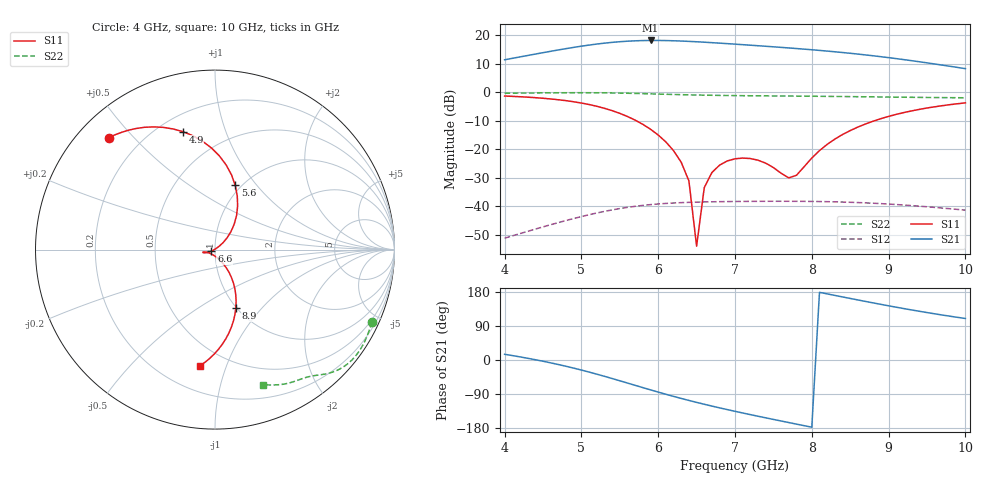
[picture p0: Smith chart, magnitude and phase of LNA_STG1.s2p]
! Touchstone Ver. 1.0
! Number of ports is 2
# Hz	S	RI	R	50.000000	100.000000
! SCATTERING PARAMETERS  :
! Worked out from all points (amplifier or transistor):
!   61 points, 4 GHz to 10 GHz, reference 50 ohm
!   highest |S21| = 18.2 dB at 5.9 GHz (marker M1)
!   |S21| within 3 dB of that: 4.772 GHz to 7.877 GHz (3.105 GHz wide, 49.1 % of centre)
!   unconditionally stable (mu >= 1): start of sweep to 4.353 GHz; 6.181 GHz to end of sweep
!   at 5 GHz: K = 0.79, MSG = 29.9 dB, |S12| = -43.7 dB
!   at 7 GHz: K = 1.40, MAG = 23.9 dB, |S12| = -38.4 dB
!   at 10 GHz: K = 4.27, MAG = 15.6 dB, |S12| = -41.4 dB
!   lowest NFmin = 2.22 dB at 6.4 GHz
!   S11 on the Smith chart (normalised r, x): 4 GHz: 0.09, +0.43; 4.9 GHz: 0.29, +0.72; 5.6 GHz: 0.94, +0.78; 6.6 GHz: 0.96, -0.02; 8.9 GHz: 1.00, -0.73; 10 GHz: 0.36, -0.81
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4e9  -0.5913 0.6238  3.597 0.9684  0.00252 -0.00105  0.8744 -0.4032
4.5e9  -0.3894 0.6816  4.956 -0.2853  0.00348 -0.00256  0.843 -0.4918
4.9e9  -0.1791 0.6573  5.724 -2.25  0.00383 -0.0047  0.8041 -0.5645
5e9  -0.1243 0.635  5.773 -2.885  0.00376 -0.00536  0.7915 -0.5821
5.3e9  0.0239 0.5227  5.332 -4.98  0.00294 -0.00753  0.7464 -0.6303
5.6e9  0.1128 0.3579  3.848 -6.895  0.00104 -0.00946  0.6932 -0.6663
5.9e9  0.12 0.1894  1.575 -7.982  -0.00166 -0.0105  0.6397 -0.687
6e9  0.1069 0.1416  0.753 -8.1  -0.00264 -0.0106  0.6233 -0.6911
6.2e9  0.0676 0.0659  -0.8412 -7.991  -0.00453 -0.0104  0.5936 -0.6965
6.4e9  0.0217 0.0172  -2.254 -7.506  -0.00626 -0.00983  0.568 -0.7001
6.5e9  -1.78e-05 0.00198  -2.869 -7.161  -0.00703 -0.00942  0.5565 -0.7017
6.6e9  -0.0196 -0.00825  -3.419 -6.767  -0.00775 -0.00896  0.5458 -0.7034
6.8e9  -0.0497 -0.0173  -4.324 -5.88  -0.00899 -0.00791  0.5262 -0.7073
7e9  -0.0657 -0.017  -4.99 -4.92  -0.01 -0.00673  0.5079 -0.712
7.5e9  -0.0452 -0.015  -5.781 -2.478  -0.0117 -0.00348  0.4644 -0.7267
7.7e9  -0.0183 -0.0254  -5.807 -1.548  -0.012 -0.0021  0.4468 -0.7328
8e9  0.0312 -0.0626  -5.579 -0.2565  -0.0121 1e-05  0.4199 -0.7412
8.5e9  0.1026 -0.186  -4.618 1.461  -0.0112 0.00331  0.3749 -0.7507
8.9e9  0.1163 -0.3239  -3.53 2.31  -0.00966 0.0054  0.3412 -0.7537
9e9  0.1114 -0.36  -3.243 2.442  -0.00919 0.00581  0.3334 -0.7539
9.4e9  0.0602 -0.4972  -2.144 2.687  -0.00719 0.00693  0.3049 -0.7539
1e10  -0.0814 -0.6461  -0.8709 2.451  -0.00439 0.00728  0.2696 -0.7542
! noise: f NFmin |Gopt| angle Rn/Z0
4e+09  3.575  0.7485  -136.3  0.501
4.6e+09  2.999  0.6204  -123.2  0.4284
5.3e+09  2.521  0.4014  -103.9  0.3537
6e+09  2.265  0.1498  -79.23  0.299
6.6e+09  2.232  0.03531  59.38  0.2763
7.3e+09  2.4  0.1506  97.75  0.2888
8e+09  2.744  0.2425  96.12  0.3567
8.6e+09  3.14  0.346  94.59  0.4704
9.3e+09  3.687  0.4945  98.67  0.6833
1e+10  4.308  0.6364  106.7  1.002
